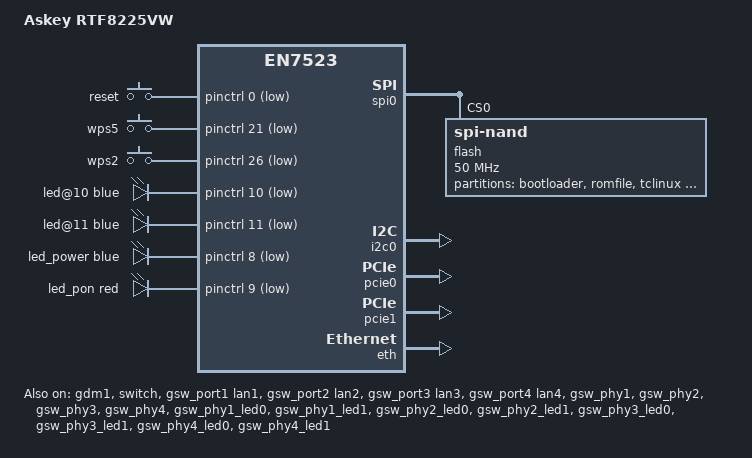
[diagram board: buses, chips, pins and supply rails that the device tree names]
/* SPDX-License-Identifier: GPL-2.0-or-later OR MIT */
/dts-v1/;

#include <dt-bindings/leds/common.h>
#include <dt-bindings/gpio/gpio.h>
#include <dt-bindings/input/input.h>
#include "en7523.dtsi"

/ {
	model = "Askey RTF8225VW";
	compatible = "askey,rtf8225vw", "airoha,en7523";

	chosen {
		// rootdisk = <&firmware>;
		// bootargs = "console=ttyS0,115200 earlycon ubi.block=0,fit root=/dev/fit0 rootwait";
		bootargs = "console=ttyS0,115200 earlycon";
		stdout-path = "serial0:115200n8";
	};

	aliases {
		serial0 = &uart1;
		led-boot = &led_power;
		led-failsafe = &led_pon;
		led-upgrade = &led_pon;
		led-running = &led_power;
	};

	keys {
		compatible = "gpio-keys";

		reset {
			label = "reset";
			linux,code = <KEY_RESTART>;
			gpios = <&pinctrl 0 GPIO_ACTIVE_LOW>;
			debounce-interval = <60>;
		};

		wps5 {
			label = "wps5";
			linux,code = <KEY_WPS_BUTTON>;
			gpios = <&pinctrl 21 GPIO_ACTIVE_LOW>;
			debounce-interval = <60>;
		};

		wps2 {
			label = "wps2";
			linux,code = <KEY_WPS_BUTTON>;
			gpios = <&pinctrl 26 GPIO_ACTIVE_LOW>;
			debounce-interval = <60>;
		};
	};

	leds {
		compatible = "gpio-leds";

		/* 2.4Ghz */
		led@10 {
			color = <LED_COLOR_ID_BLUE>;
			function = LED_FUNCTION_WLAN_2GHZ;
			function-enumerator = <10>;
			gpios = <&pinctrl 10 GPIO_ACTIVE_LOW>;
		};

		/* 5Ghz */
		led@11 {
			color = <LED_COLOR_ID_BLUE>;
			function = LED_FUNCTION_WLAN_5GHZ;
			function-enumerator = <11>;
			gpios = <&pinctrl 11 GPIO_ACTIVE_LOW>;
		};

		/* Power */
		led_power: led@8 {
			color = <LED_COLOR_ID_BLUE>;
			function = LED_FUNCTION_STATUS;
			function-enumerator = <8>;
			gpios = <&pinctrl 8 GPIO_ACTIVE_LOW>;
		};

		/* xPON */
		led_pon: led@9 {
			color = <LED_COLOR_ID_RED>;
			function = LED_FUNCTION_STATUS;
			function-enumerator = <9>;
			gpios = <&pinctrl 9 GPIO_ACTIVE_LOW>;
		};
	};
};

/*
Old maping NAND
[    3.718322] 0x000000000000-0x000000080000 : "bootloader"
[    3.724363] 0x000000080000-0x0000000c0000 : "romfile"
[    3.757166] 0x0000000c0000-0x0000028c0000 : "tclinux"
[    3.792055] 0x0000028c0000-0x0000050c0000 : "tclinux_slave"
[    3.798150] 0x0000050c0000-0x000005100000 : "bootenv0"
[    3.803746] 0x000005100000-0x000005140000 : "bootenv1"
[    3.809388] 0x000005140000-0x000005540000 : "defcfg"
[    3.814821] 0x000005540000-0x000005940000 : "bakcfg"
[    3.820215] 0x000005940000-0x000005d40000 : "config"
[    3.825617] 0x000005d40000-0x000006540000 : "status"
[    3.831003] 0x000006dc0000-0x000007000000 : "reservearea"
[    3.836879] 0x000007000000-0x00000ac00000 : "coredump"
[    3.842506] 0x00000ac00000-0x00000b000000 : "persistentscript"
[    3.848833] 0x00000b000000-0x00000e000000 : "unused"
*/
&spi0 {
	flash@0 {
		reg = <0>;
		compatible = "spi-nand";
		spi-max-frequency = <50000000>;
		spi-tx-bus-width = <1>;
		spi-rx-bus-width = <2>;

		partitions {
			compatible = "fixed-partitions";
			#address-cells = <1>;
			#size-cells = <1>;

			partition@0 {
				label = "bootloader";
				reg = <0x00000000 0x00080000>;
				read-only;
			};

			partition@80000 {
				label = "romfile";
				reg = <0x00080000 0x00040000>;
			};

			firmware: firmware@c0000 {
				label = "tclinux";
				compatible = "denx,uimage";
				reg = <0x000c0000 0x02800000>;
			};

			partition@28c0000 {
				label = "tclinux_slave";
				reg = <0x028c0000 0x02800000>;
			};

			partition@50c0000 {
				label = "bootenv0";
				reg = <0x050c0000 0x00040000>;
			};

			partition@5100000 {
				label = "bootenv1";
				reg = <0x05100000 0x00040000>;
				compatible = "u-boot,env";

				macaddr: ethaddr {
					#nvmem-cell-cells = <1>;
				};
			};

			partition@5140000 {
				label = "defcfg";
				reg = <0x05140000 0x00400000>;
			};

			partition@5540000 {
				label = "bakcfg";
				reg = <0x05540000 0x00400000>;
			};

			partition@5940000 {
				label = "config";
				reg = <0x05940000 0x00400000>;
			};

			partition@5d40000 {
				label = "status";
				reg = <0x05d40000 0x00800000>;
			};

			partition@6dc0000 {
				label = "reservearea";
				reg = <0x06dc0000 0x00240000>;
				read-only;

				nvmem-layout {
					compatible = "fixed-layout";
					#address-cells = <1>;
					#size-cells = <1>;

					mt76_eeprom_2g: eeprom@0 {
						reg = <0x000000 0x020000>;
					};

					mt76_eeprom_5g: eeprom@20000 {
						reg = <0x020000 0x020000>;
					};

					mt76_precal_5g: precal@20e10 {
						reg = <0x020e10 0x019c10>;
					};

					en7571_bob: en7571_bob@1c0400 {
						reg = <0x1c0400 0xff>;
					};
				};
			};

			partition@7000000 {
				label = "coredump";
				reg = <0x07000000 0x03c00000>;
			};

			partition@ac00000 {
				label = "persistentscript";
				reg = <0x0ac00000 0x00400000>;
			};

			partition@b000000 {
				label = "unused";
				reg = <0x0b000000 0x03000000>;
			};
		};
	};
};

&i2c0 {
	status = "okay";
};

&pcie0 {
	status = "okay";

	pcie@0,0 {
		reg = <0x00000000 0 0 0 0>;
		#address-cells = <3>;
		#size-cells = <2>;

		mt7915@0,0 {
			reg = <0x0000 0 0 0 0>;
			#address-cells = <1>;
			#size-cells = <0>;
			nvmem-cells = <&mt76_eeprom_2g>;
			nvmem-cell-names = "eeprom";
			airoha,npu = <&npu>;
			airoha,eth = <&eth>;

			/* 2.4Ghz */
			band@0 {
				reg = <0>;
				nvmem-cells = <&macaddr 0>;
				nvmem-cell-names = "mac-address";
			};
		};
	};
};

&pcie1 {
	status = "okay";

	pcie@1,0 {
		reg = <0x00000800 0 0 0 0>;
		#address-cells = <3>;
		#size-cells = <2>;

		/* 5Ghz */
		mt7915@0,0 {
			reg = <0x0000 0 0 0 0>;
			#address-cells = <1>;
			#size-cells = <0>;
			nvmem-cells = <&mt76_eeprom_5g>, <&mt76_precal_5g>;
			nvmem-cell-names = "eeprom", "precal";
			airoha,npu = <&npu>;
			airoha,eth = <&eth>;

			band@0 {
				reg = <0>;
				nvmem-cells = <&macaddr 2>;
				nvmem-cell-names = "mac-address";
			};
		};
	};
};

&eth {
	status = "okay";
};

&xpon {
	/* status = "okay"; */

	nvmem-cells = <&en7571_bob>;
	nvmem-cell-names = "calibration";
};

&gdm1 {
	status = "okay";
	nvmem-cells = <&macaddr 0>;
	nvmem-cell-names = "mac-address";
};

&gdm2 {
	/* status = "okay"; */
	nvmem-cells = <&macaddr 0>;
	nvmem-cell-names = "mac-address";

	phy-mode = "internal";
	managed = "in-band-status";
	phy-handle = <&xpon>;

	openwrt,netdev-name = "pon0";
};

&switch {
	/delete-property/ pinctrl-names;
	/delete-property/ pinctrl-0;

	status = "okay";
};

&gsw_port1 {
	label = "lan1";
	status = "okay";
};

&gsw_port2 {
	label = "lan2";
	status = "okay";
};

&gsw_port3 {
	label = "lan3";
	status = "okay";
};

&gsw_port4 {
	label = "lan4";
	status = "okay";
};

&gsw_port6 {
	nvmem-cells = <&macaddr 0>;
	nvmem-cell-names = "mac-address";
};

/* Leds act is inverted */
&swp1_led1 {
	mux {
		pins = "gpio4";
	};
};
&swp2_led1 {
	mux {
		pins = "gpio5";
	};
};
&swp3_led1 {
	mux {
		pins = "gpio6";
	};
};
&swp4_led1 {
	mux {
		pins = "gpio7";
	};
};

&gsw_phy1 {
	status = "okay";

	pinctrl-0 = <&swp1_led0 &swp1_led1>;
};

&gsw_phy2 {
	status = "okay";

	pinctrl-0 = <&swp2_led0 &swp2_led1>;
};

&gsw_phy3 {
	status = "okay";

	pinctrl-0 = <&swp3_led0 &swp3_led1>;
};

&gsw_phy4 {
	status = "okay";

	pinctrl-0 = <&swp4_led0 &swp4_led1>;
};

&gsw_phy1_led0 {
	status = "okay";
	color = <LED_COLOR_ID_GREEN>;
};

&gsw_phy1_led1 {
	status = "okay";
	color = <LED_COLOR_ID_YELLOW>;
};

&gsw_phy2_led0 {
	status = "okay";
	color = <LED_COLOR_ID_GREEN>;
};

&gsw_phy2_led1 {
	status = "okay";
	color = <LED_COLOR_ID_YELLOW>;
};

&gsw_phy3_led0 {
	status = "okay";
	color = <LED_COLOR_ID_GREEN>;
};

&gsw_phy3_led1 {
	status = "okay";
	color = <LED_COLOR_ID_YELLOW>;
};

&gsw_phy4_led0 {
	status = "okay";
	color = <LED_COLOR_ID_GREEN>;
};

&gsw_phy4_led1 {
	status = "okay";
	color = <LED_COLOR_ID_YELLOW>;
};
